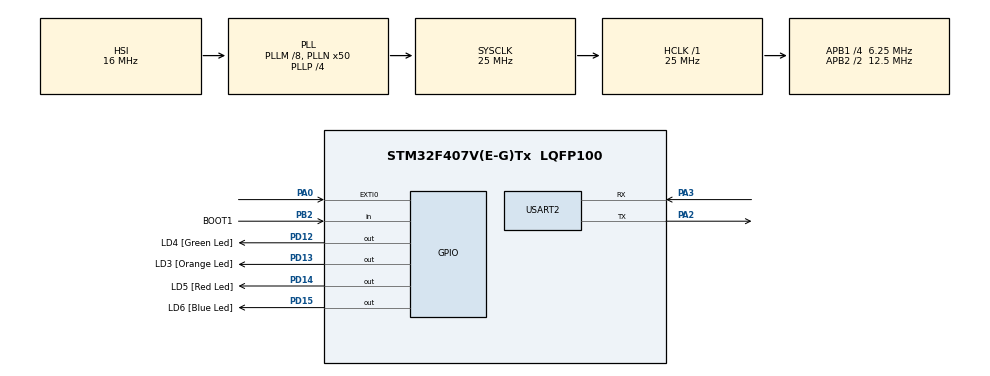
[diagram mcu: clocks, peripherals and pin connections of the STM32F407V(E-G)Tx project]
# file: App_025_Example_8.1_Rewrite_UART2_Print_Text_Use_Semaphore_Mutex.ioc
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Mcu.Family=STM32F4
Mcu.Name=STM32F407V(E-G)Tx
Mcu.Package=LQFP100
NVIC.EXTI0_IRQn=true\:6\:0\:true\:false\:true\:true\:true\:true
NVIC.PriorityGroup=NVIC_PRIORITYGROUP_4
NVIC.TIM6_DAC_IRQn=true\:0\:0\:false\:false\:true\:false\:true\:true
NVIC.TimeBase=TIM6_DAC_IRQn
NVIC.TimeBaseIP=TIM6
PA0-WKUP.Signal=GPXTI0
PA13.GPIO_Label=SWDIO
PA13.Signal=SYS_JTMS-SWDIO
PA14.GPIO_Label=SWCLK
PA14.Signal=SYS_JTCK-SWCLK
PA2.Mode=Asynchronous
PA2.Signal=USART2_TX
PA3.Mode=Asynchronous
PA3.Signal=USART2_RX
PB2.GPIO_Label=BOOT1
PB2.GPIO_Mode=GPIO_MODE_INPUT
PB2.GPIO_PuPd=GPIO_NOPULL
PB2.Signal=GPIO_Input
PB3.GPIO_Label=SWO
PB3.Signal=SYS_JTDO-SWO
PC7.GPIO_Label=I2S3_MCK [CS43L22_MCLK]
PC7.GPIO_Mode=GPIO_MODE_AF_PP
PC7.GPIO_PuPd=GPIO_NOPULL
PC7.GPIO_Speed=GPIO_SPEED_FREQ_LOW
PC7.Signal=I2S3_MCK
PD12.GPIO_Label=LD4 [Green Led]
PD12.GPIO_PuPd=GPIO_NOPULL
PD12.GPIO_Speed=GPIO_SPEED_FREQ_LOW
PD12.Signal=GPIO_Output
PD13.GPIO_Label=LD3 [Orange Led]
PD13.GPIO_PuPd=GPIO_NOPULL
PD13.GPIO_Speed=GPIO_SPEED_FREQ_LOW
PD13.Signal=GPIO_Output
PD14.GPIO_Label=LD5 [Red Led]
PD14.GPIO_PuPd=GPIO_NOPULL
PD14.GPIO_Speed=GPIO_SPEED_FREQ_LOW
PD14.Signal=GPIO_Output
PD15.GPIO_Label=LD6 [Blue Led]
PD15.GPIO_PuPd=GPIO_NOPULL
PD15.GPIO_Speed=GPIO_SPEED_FREQ_LOW
PD15.Signal=GPIO_Output
ProjectManager.HeapSize=0x200
ProjectManager.StackSize=0x400
ProjectManager.TargetToolchain=STM32CubeIDE
RCC.48MHZClocksFreq_Value=14285714.285714285
RCC.AHBFreq_Value=25000000
RCC.APB1CLKDivider=RCC_HCLK_DIV4
RCC.APB1Freq_Value=6250000
RCC.APB1TimFreq_Value=12500000
RCC.APB2CLKDivider=RCC_HCLK_DIV2
RCC.APB2Freq_Value=12500000
RCC.APB2TimFreq_Value=25000000
RCC.CortexFreq_Value=25000000
RCC.HCLKFreq_Value=25000000
RCC.HSE_VALUE=8000000
RCC.HSI_VALUE=16000000
RCC.LSE_VALUE=32768
RCC.PLLM=8
RCC.PLLN=50
RCC.PLLP=RCC_PLLP_DIV4
RCC.PLLQ=7
RCC.SYSCLKFreq_VALUE=25000000
RCC.SYSCLKSource=RCC_SYSCLKSOURCE_PLLCLK
RCC.VCOOutputFreq_Value=100000000
USART2.VirtualMode=VM_ASYNC
VP_SYS_VS_tim6.Mode=TIM6
board=STM32F407G-DISC1

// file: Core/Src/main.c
/* USER CODE BEGIN Header */
/**
  ******************************************************************************
  * @file           : main.c
  * @brief          : Main program body
  ******************************************************************************
  * @attention
  *
  * Copyright (c) 2024 STMicroelectronics.
  * All rights reserved.
  *
  * This software is licensed under terms that can be found in the LICENSE file
  * in the root directory of this software component.
  * If no LICENSE file comes with this software, it is provided AS-IS.
  *
  *
  ******************************************************************************
  */

/**
 * @author  Julio Cesar Bernal Mendez
 * @brief   This is the "Example 8.1 Rewriting vPrintString() to use a semaphore"
 *          from the Mastering the FreeRTOS Real Time Kernel v1.0 book.
 *          Note: I'm not using the windows port, instead this project uses the ARM_CM4F port
 *                and it uses my own implementation for printing from UART2 to a serial terminal.
 *                This function was UART2_Print_Text() in all previous examples.
 *
 *          This example creates a new version of UART2_Print_Text() called New_UART2_Print_Text(),
 *          then calls the new function from multiple tasks.
 *          New_UART2_Print_Text() is functionally identical to UART2_Print_Text(), but controls
 *          access to standard out using a mutex, rather than by locking the scheduler.
 *
 *          New_UART2_Print_Text() is called repeteadly by two instances of a task implemented by
 *          prvPrintTask(). A random delay (0 to 19 ticks) is used between each call.
 *
 *          The task parameter of prvPrintTask() is used to pass a unique string into each instance
 *          of the task.
 *
 *          The two instances of prvPrintTask() are created at different priorities, so the lower
 *          priority task will sometimes be pre-empted by the higher priority task. As a mutex is
 *          used to ensure each task gets mutually exclusive access to the terminal, even when
 *          preemption occurs, the strings displayed will be correct and in no way corrupted.
 *
 *          The frequency of pre-emption can be increased by reducing the maximum time the tasks
 *          spend in the Blocked state, which is set by the xMaxBlockTimeTicks constant.
 *
 *          The random string ordering is a result of the random delay periods used by the tasks.
 *
 * @version 0.1
 * @date    2024-12-13
 *
 */
/* USER CODE END Header */
#include "main.h"

/* USER CODE BEGIN Includes */
#include <stdio.h>
#include <stdlib.h>
#include "FreeRTOS.h"
#include "task.h"
#include "semphr.h"
/* USER CODE END Includes */

UART_HandleTypeDef huart2;

/* USER CODE BEGIN PV */
SemaphoreHandle_t xMutex;
/* USER CODE END PV */

void SystemClock_Config(void);
static void MX_GPIO_Init(void);
static void MX_USART2_UART_Init(void);
/* USER CODE BEGIN PFP */
void New_UART2_Print_Text( UART_HandleTypeDef *huart, const char *text );

static void prvPrintTask( void *pvParameters );
/* USER CODE END PFP */

int main(void)
{

  /* MCU Configuration--------------------------------------------------------*/

  /* Reset of all peripherals, Initializes the Flash interface and the Systick. */
  HAL_Init();

  /* Configure the system clock */
  SystemClock_Config();

  /* Initialize all configured peripherals */
  MX_GPIO_Init();
  MX_USART2_UART_Init();
  /* USER CODE BEGIN 2 */
  /* enable CYCCNT (Cycle Count, needed for SEGGER SystemView) in DWT_CTRL register */
  DWT->CTRL |= DWT_CTRL_CYCCNTENA_Msk;

  /* initialize and configure SEGGER SystemView */
  SEGGER_SYSVIEW_Conf();

  /* start recording SEGGER SystemView events */
  SEGGER_SYSVIEW_Start();

  /* Before a mutex (semaphore) is used, it must be explicitly created.
     In this example a mutex type semaphore is created */
  xMutex = xSemaphoreCreateMutex();

  /* check the semaphore was created successfully before creating the tasks */
  if ( xMutex != NULL )
  {
    /* Create two instances of the tasks that write from UART2.
       The string they write to is passed into the task as the task's parameter.
       The tasks are created at different priorities so some pre-emption will occur */
    xTaskCreate( prvPrintTask, "Print1", 1000, "Task 1 *************************\n\r", 1, NULL );
    xTaskCreate( prvPrintTask, "Print2", 1000, "Task 2 -------------------------\n\r", 2, NULL );

    /* start the scheduler so the created tasks start executing */
    vTaskStartScheduler();
  }
  /* USER CODE END 2 */

  /* Infinite loop */
  /* USER CODE BEGIN WHILE */

  /* If all is well, main() will not reach here because the scheduler will now
     be running the created tasks.
     If main() does reach here, then there was not enough heap memory to create either
     the idle or timer tasks */
  while (1)
  {
    /* USER CODE END WHILE */

  }
}

void SystemClock_Config(void)
{
  RCC_OscInitTypeDef RCC_OscInitStruct = {0};
  RCC_ClkInitTypeDef RCC_ClkInitStruct = {0};

  /** Configure the main internal regulator output voltage
  */
  __HAL_RCC_PWR_CLK_ENABLE();
  __HAL_PWR_VOLTAGESCALING_CONFIG(PWR_REGULATOR_VOLTAGE_SCALE1);

  /** Initializes the RCC Oscillators according to the specified parameters
  * in the RCC_OscInitTypeDef structure.
  */
  RCC_OscInitStruct.OscillatorType = RCC_OSCILLATORTYPE_HSI;
  RCC_OscInitStruct.HSIState = RCC_HSI_ON;
  RCC_OscInitStruct.HSICalibrationValue = RCC_HSICALIBRATION_DEFAULT;
  RCC_OscInitStruct.PLL.PLLState = RCC_PLL_ON;
  RCC_OscInitStruct.PLL.PLLSource = RCC_PLLSOURCE_HSI;
  RCC_OscInitStruct.PLL.PLLM = 8;
  RCC_OscInitStruct.PLL.PLLN = 50;
  RCC_OscInitStruct.PLL.PLLP = RCC_PLLP_DIV4;
  RCC_OscInitStruct.PLL.PLLQ = 7;
  if (HAL_RCC_OscConfig(&RCC_OscInitStruct) != HAL_OK)
  {
    Error_Handler();
  }

  /** Initializes the CPU, AHB and APB buses clocks
  */
  RCC_ClkInitStruct.ClockType = RCC_CLOCKTYPE_HCLK|RCC_CLOCKTYPE_SYSCLK
                              |RCC_CLOCKTYPE_PCLK1|RCC_CLOCKTYPE_PCLK2;
  RCC_ClkInitStruct.SYSCLKSource = RCC_SYSCLKSOURCE_PLLCLK;
  RCC_ClkInitStruct.AHBCLKDivider = RCC_SYSCLK_DIV1;
  RCC_ClkInitStruct.APB1CLKDivider = RCC_HCLK_DIV4;
  RCC_ClkInitStruct.APB2CLKDivider = RCC_HCLK_DIV2;

  if (HAL_RCC_ClockConfig(&RCC_ClkInitStruct, FLASH_LATENCY_0) != HAL_OK)
  {
    Error_Handler();
  }
}

static void MX_USART2_UART_Init(void)
{

  huart2.Instance = USART2;
  huart2.Init.BaudRate = 115200;
  huart2.Init.WordLength = UART_WORDLENGTH_8B;
  huart2.Init.StopBits = UART_STOPBITS_1;
  huart2.Init.Parity = UART_PARITY_NONE;
  huart2.Init.Mode = UART_MODE_TX_RX;
  huart2.Init.HwFlowCtl = UART_HWCONTROL_NONE;
  huart2.Init.OverSampling = UART_OVERSAMPLING_16;
  if (HAL_UART_Init(&huart2) != HAL_OK)
  {
    Error_Handler();
  }

}

static void MX_GPIO_Init(void)
{
  GPIO_InitTypeDef GPIO_InitStruct = {0};

  /* GPIO Ports Clock Enable */
  __HAL_RCC_GPIOA_CLK_ENABLE();
  __HAL_RCC_GPIOB_CLK_ENABLE();
  __HAL_RCC_GPIOD_CLK_ENABLE();
  __HAL_RCC_GPIOC_CLK_ENABLE();

  /*Configure GPIO pin Output Level */
  HAL_GPIO_WritePin(GPIOD, LD4_Pin|LD3_Pin|LD5_Pin|LD6_Pin, GPIO_PIN_RESET);

  /*Configure GPIO pin : PA0 */
  GPIO_InitStruct.Pin = GPIO_PIN_0;
  GPIO_InitStruct.Mode = GPIO_MODE_IT_RISING;
  GPIO_InitStruct.Pull = GPIO_NOPULL;
  HAL_GPIO_Init(GPIOA, &GPIO_InitStruct);

  /*Configure GPIO pin : BOOT1_Pin */
  GPIO_InitStruct.Pin = BOOT1_Pin;
  GPIO_InitStruct.Mode = GPIO_MODE_INPUT;
  GPIO_InitStruct.Pull = GPIO_NOPULL;
  HAL_GPIO_Init(BOOT1_GPIO_Port, &GPIO_InitStruct);

  /*Configure GPIO pins : LD4_Pin LD3_Pin LD5_Pin LD6_Pin */
  GPIO_InitStruct.Pin = LD4_Pin|LD3_Pin|LD5_Pin|LD6_Pin;
  GPIO_InitStruct.Mode = GPIO_MODE_OUTPUT_PP;
  GPIO_InitStruct.Pull = GPIO_NOPULL;
  GPIO_InitStruct.Speed = GPIO_SPEED_FREQ_LOW;
  HAL_GPIO_Init(GPIOD, &GPIO_InitStruct);

  /*Configure GPIO pin : I2S3_MCK_Pin */
  GPIO_InitStruct.Pin = I2S3_MCK_Pin;
  GPIO_InitStruct.Mode = GPIO_MODE_AF_PP;
  GPIO_InitStruct.Pull = GPIO_NOPULL;
  GPIO_InitStruct.Speed = GPIO_SPEED_FREQ_LOW;
  GPIO_InitStruct.Alternate = GPIO_AF6_SPI3;
  HAL_GPIO_Init(I2S3_MCK_GPIO_Port, &GPIO_InitStruct);

  /* EXTI interrupt init*/
  HAL_NVIC_SetPriority(EXTI0_IRQn, 6, 0);
  HAL_NVIC_EnableIRQ(EXTI0_IRQn);

}

/* USER CODE BEGIN 4 */
void New_UART2_Print_Text( UART_HandleTypeDef *huart, const char *text )
{
  uint8_t character;

  /* The mutex (xMutex) is created before the scheduler is started, so already exists
     by the time this task executes

     Attempt to take the mutex, blocking indefinitely to wait for the mutex if it is not
     available straight away. The call to xSemaphoreTake() will only return when the mutex
     has been successfully obtained, so there is no need to check the function return
     value.
     If any other delay period was used then the code must check that xSemaphoreTake()
     returns pdTRUE before accessing the shared resource (which in this case is UART2).

     As noted earlier in the book, indefinite timeouts are not recommended for
     production code */
  xSemaphoreTake( xMutex, portMAX_DELAY );
  {
    /* The following lines will only execute once the mutex has been successfully obtained.
       UART2 can be accessed freely now as only one task can have the mutex at any time. */

    /* loop through the string until null character found */
    for ( character = 0; text[ character ] != '\0'; character++ )
    {
      /* transmit current character over UART */
      HAL_UART_Transmit( huart, ( const uint8_t* ) &text[ character ], 1, 5000 );
    }

    /* the mutex MUST be given back! */
  }
  xSemaphoreGive( xMutex );
}

static void prvPrintTask( void *pvParameters )
{
  char *pcStringToPrint;
  const TickType_t xMaxBlockTimeTicks = 0x20;

  /* Two instances of this task are created.
     The string printed by the task is passed into the task using the task's parameter.
     The parameter is cast to the required type */
  pcStringToPrint = ( char * ) pvParameters;

  for ( ;; )
  {
    /* print out the string using the newly defined function */
    New_UART2_Print_Text( &huart2, pcStringToPrint );

    /* Wait a pseudo random time (0 to 0x1F ticks).
       Note that rand() is not necessarily reentrant, but in this case it does not really
       matter as the code does not care what value is returned.
       In a more secure application, a version of rand() that is known to be reentrant
       should be used - or calls to rand() should be protected using a critical section */
    vTaskDelay( rand() % xMaxBlockTimeTicks );
  }
}
/* USER CODE END 4 */

void HAL_TIM_PeriodElapsedCallback(TIM_HandleTypeDef *htim)
{
  if (htim->Instance == TIM6) {
    HAL_IncTick();
  }
}

void Error_Handler(void)
{
  __disable_irq();
  while (1)
  {
  }
}
